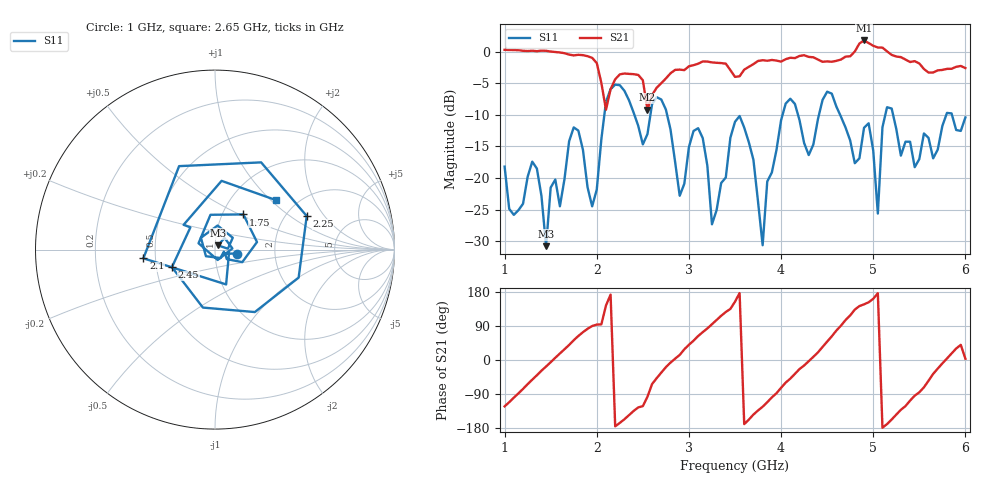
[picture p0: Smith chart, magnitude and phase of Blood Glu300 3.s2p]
! NanoVNA-App
! Date: 2024-03-21 03:06:02
! Start: 1GHz Stop: 6GHz Points: 101
! S-Parameter data: F S11 S21 S12 S22
# Hz S RI R 50
!	Frequency	S11_Real	S11_Imag	S21_Real	S21_Imag	S12_Real	S12_Imag	S22_Real	S22_Imag
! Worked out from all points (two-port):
!   101 points, 1 GHz to 6 GHz, reference 50 ohm
!   highest |S21| = 1.80 dB at 4.9 GHz (marker M1); lowest = -9.2 dB at 2.55 GHz (marker M2)
!   |S21| within 3 dB of the highest: start of sweep to 1.965 GHz; 4.653 GHz to 5.346 GHz (693.9 MHz wide, 13.9 % of centre) (the widest 2 of 3)
!   lowest |S11| = -30.8 dB at 1.45 GHz (marker M3), VSWR 1.06, Z = 51.7 + j2.41 ohm
!   |S11| at or under -10 dB: start of sweep to 2.082 GHz; 2.764 GHz to 4.016 GHz (1.252 GHz wide, 36.9 % of centre); 5.216 GHz to 5.792 GHz (576.6 MHz wide, 10.5 % of centre) (the widest 3 of 7)
!   S12 and S22 are empty: the file has one direction only
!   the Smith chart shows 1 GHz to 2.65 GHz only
!   S11 on the Smith chart (normalised r, x): 1 GHz: 1.27, -0.06; 1.75 GHz: 1.25, +0.52; 2.1 GHz: 0.43, -0.05; 2.25 GHz: 2.57, +1.36; 2.45 GHz: 0.60, -0.13; 2.65 GHz: 1.58, +1.08
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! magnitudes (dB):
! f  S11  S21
! 1 GHz  -18.2  0.3
! 1.45 GHz  -30.8  0.2
! 1.75 GHz  -12.0  -0.6
! 1.85 GHz  -15.5  -0.5
! 1.95 GHz  -24.5  -1.0
! 2.1 GHz  -7.9  -9.2
! 2.25 GHz  -5.3  -3.6
! 2.45 GHz  -11.7  -3.7
! 2.55 GHz  -13.0  -9.2
! 2.65 GHz  -7.2  -5.7
! 2.7 GHz  -7.6  -5.0
! 2.9 GHz  -22.8  -2.8
! 3.15 GHz  -13.7  -1.5
! 3.25 GHz  -27.3  -1.7
! 3.5 GHz  -11.1  -4.0
! 3.8 GHz  -30.7  -1.3
! 4.05 GHz  -8.2  -1.2
! 4.35 GHz  -14.7  -0.9
! 4.9 GHz  -12.0  1.8
! 5.05 GHz  -25.6  0.7
! 5.2 GHz  -9.0  -0.5
! 6 GHz  -10.4  -2.6
